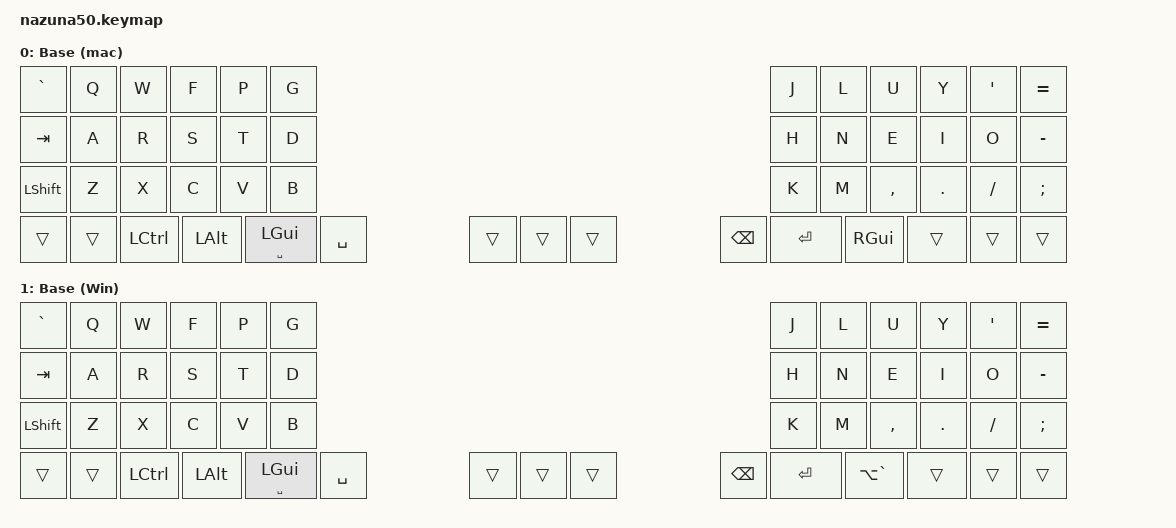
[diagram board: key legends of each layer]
// This file was generated from a template. Edit it to match your keyboard.
// See https://zmk.dev/docs/development/hardware-integration/new-shield for more instructions.

#include <behaviors.dtsi>
#include <dt-bindings/zmk/keys.h>

/ {
    // Define a default keymap here.
    // See https://zmk.dev/docs/development/hardware-integration/new-shield#default-keymap.

    keymap {
        compatible = "zmk,keymap";

        m_base {
            bindings = <
&kp GRAVE  &kp Q   &kp W      &kp F     &kp P           &kp G                              &kp J     &kp L      &kp U      &kp Y    &kp APOS  &kp EQUAL
&kp TAB    &kp A   &kp R      &kp S     &kp T           &kp D                              &kp H     &kp N      &kp E      &kp I    &kp O     &kp MINUS
&kp LSHFT  &kp Z   &kp X      &kp C     &kp V           &kp B                              &kp K     &kp M      &kp COMMA  &kp DOT  &kp FSLH  &kp SEMI
&trans     &trans  &kp LCTRL  &kp LALT  &mt SPACE LGUI  &kp SPACE  &trans  &trans  &trans  &kp BSPC  &kp ENTER  &kp RGUI   &trans   &trans    &trans
            >;

            label = "Base (mac)";
        };

        w_base {
            bindings = <
&kp GRAVE  &kp Q   &kp W      &kp F     &kp P           &kp G                              &kp J     &kp L      &kp U          &kp Y    &kp APOS  &kp EQUAL
&kp TAB    &kp A   &kp R      &kp S     &kp T           &kp D                              &kp H     &kp N      &kp E          &kp I    &kp O     &kp MINUS
&kp LSHFT  &kp Z   &kp X      &kp C     &kp V           &kp B                              &kp K     &kp M      &kp COMMA      &kp DOT  &kp FSLH  &kp SEMI
&trans     &trans  &kp LCTRL  &kp LALT  &mt SPACE LGUI  &kp SPACE  &trans  &trans  &trans  &kp BSPC  &kp ENTER  &kp LA(GRAVE)  &trans   &trans    &trans
            >;

            label = "Base (Win)";
        };
    };
};
